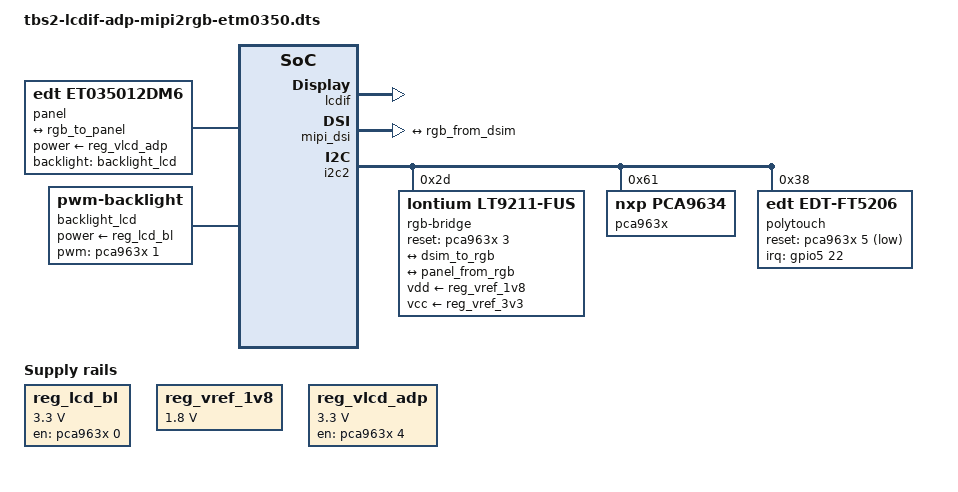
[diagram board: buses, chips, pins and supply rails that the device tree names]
/*
 * Copyright (C) 2021 F&S Elektronik Systeme GmbH
 *
 * This program is free software; you can redistribute it and/or modify
 * it under the terms of the GNU General Public License version 2 as
 * published by the Free Software Foundation.
 */

#include "tbs2.dts"

/ {
	regulators {
		reg_lcd_bl: backlight_lcd {
			compatible = "regulator-fixed";
			regulator-name = "lcd-bl";
			gpio = <&pca963x 0 0>;
			regulator-min-microvolt = <3300000>;
			regulator-max-microvolt = <3300000>;
			enable-active-high;
		};

		reg_vref_1v8: regulator_1v8 {
			compatible = "regulator-fixed";
			regulator-name = "vref-1V8";
			regulator-min-microvolt = <1800000>;
			regulator-max-microvolt = <1800000>;
			regulator-always-on;
		};

		/* LCD power on voltage */
		reg_vlcd_adp: vlcd_adp {
			compatible = "regulator-fixed";
			regulator-name = "VLCD-ADP";
			gpio = <&pca963x 4 0>;
			regulator-min-microvolt = <3300000>;
			regulator-max-microvolt = <3300000>;
			enable-active-high;
		};
	};

	/* Simple panel driver */
	panel: panel {
		compatible = "edt,et035012dm6";
		backlight = <&backlight_lcd>;
		power-supply = <&reg_vlcd_adp>;

		port@0 {
			panel_from_rgb: endpoint {
				remote-endpoint = <&rgb_to_panel>;
			};
		};
	};

	backlight_lcd: backlight_lcd {
		compatible = "pwm-backlight";
		pwms = <&pca963x 1 640000 0>;
		power-supply = <&reg_lcd_bl>;
		brightness-levels = < 23 39 55 71 87 103 119
		     135 151 167 183 199 215 231 239 255>;
		default-brightness-level = <14>;
	};
};

&lcdif {
	status = "okay";
	/* important to overwrite max-res otherwise DRM lcdif will fail to find a suitable connector */
	max-res = <4096>, <4096>;
};

&mipi_dsi {
	status = "okay";

	bus-fmt = <0x100a>;

	port@1 {
		reg = <1>;
		dsim_to_rgb: endpoint {
			remote-endpoint = <&rgb_from_dsim>;
			data-lanes = <0 1 2 3>;
			attach-bridge;
		};
	};
};

&i2c2 {
    /* mipi to RGB controller  */
	rgb-bridge@2d {
		#address-cells = <1>;
		#size-cells = <0>;
	      	compatible = "lontium,lt9211-fus";
//		lt,debug-pattern;
		/* 0 = LVDS, 1 = MIPI, 2 = TTL */
		rx-source = /bits/ 8 <1>;
		/* optional: normally taken from simple panel display but can be
		 * overwritten by bus-fmt flag: 6 = RGB666, 8 = RGB888
		 */
		bus-fmt = /bits/ 8 <8>;
		/* PCLK will inverted because dotclock polarity from sec_mipi_dsim-imx
		 * is set to neg edge. The display needs dotclock pos edge therefore
		 * we inverte dotclock polarity.
		 */
		pclk-invert;
		reg = <0x2d>;
		reset-gpios = <&pca963x 3 GPIO_ACTIVE_HIGH>;
		vdd-supply = <&reg_vref_1v8>;
		vcc-supply = <&reg_vref_3v3>;

		ports {
			#address-cells = <1>;
			#size-cells = <0>;

			port@0 {
				reg = <0>;

				rgb_from_dsim: endpoint {
					remote-endpoint = <&dsim_to_rgb>;
				};
			};

			port@1 {
				reg = <1>;

				rgb_to_panel: endpoint {
					remote-endpoint = <&panel_from_rgb>;
				};
			};
		};
    };

	pca963x: pca9634@61 {
			compatible = "nxp,pca9634";
			reg = <0x61>;
			nxp,totem-pole;
			#address-cells = <1>;
			#size-cells = <0>;
			#pwm-cells = <3>;
			#gpio-cells = <2>;
			led@0 {
				reg = <0>;
				label = "BL_ON";
				type = "GPIO";
				default-on;
				active-high;
			};
			led@1 {
				reg = <1>;
				label = "BL_PWM";
				type = "PWM";
				default-on;
				active-low;
			};
			led@2 {
				reg = <2>;
				label = "ROTATE";
				type = "GPIO";
				active-high;
			};
			led@3 {
				reg = <3>;
				label = "MIPI_RST";
				type = "GPIO";
				active-high;
				default-on;
			};
			led@4 {
				reg = <4>;
				label = "VLCD_ON";
				type = "GPIO";
				default-on;
				active-high;
			};
			led@5 {
				reg = <5>;
				label = "TOUCH_RST";
				type = "GPIO";
				active-high;
				default-on;
			};
			led@6 {
				reg = <6>;
				label = "6-unused";
				type = "LED";
				active-low;
			};
			led@7 {
				reg = <7>;
				label = "7-unused";
				type = "LED";
				active-low;
			};
		};

	polytouch: edt-ft5x06@38 {
		compatible = "edt,edt-ft5206", "edt,edt-ft5x06";
		reg = <0x38>;

		interrupt-parent = <&gpio5>;
		interrupts = <22 IRQ_TYPE_EDGE_FALLING>;
		reset-gpios = <&pca963x 5 GPIO_ACTIVE_LOW>;

		threshold = <25>;
		gain = <5>;
		offset = <0>;

		no-dummy-write;
	};
};
